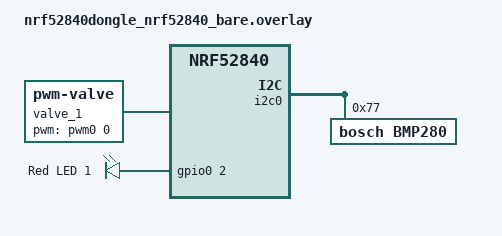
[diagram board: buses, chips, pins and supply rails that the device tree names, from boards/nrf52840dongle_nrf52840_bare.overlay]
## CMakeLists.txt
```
# SPDX-License-Identifier: Apache-2.0

cmake_minimum_required(VERSION 3.20.0)
find_package(Zephyr REQUIRED HINTS $ENV{ZEPHYR_BASE})
project(peripheral)

add_subdirectory(src/drivers)
target_sources(app PRIVATE
  src/main.cpp
  src/bmp280.cpp
)
target_link_libraries(app PRIVATE drivers)
```

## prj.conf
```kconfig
# Increased stack due to settings API usage
CONFIG_SYSTEM_WORKQUEUE_STACK_SIZE=2048

CONFIG_BT=y
CONFIG_LOG=y
CONFIG_BT_LOG_LEVEL_INF=y
CONFIG_BT_SMP=y
CONFIG_BT_PERIPHERAL=y
CONFIG_BT_DIS=y
CONFIG_BT_ATT_PREPARE_COUNT=5
CONFIG_BT_PRIVACY=y
CONFIG_BT_DEVICE_NAME="Sprinkler"
CONFIG_BT_DEVICE_APPEARANCE=833
CONFIG_BT_DEVICE_NAME_DYNAMIC=y
CONFIG_BT_DEVICE_NAME_MAX=65

CONFIG_BT_KEYS_OVERWRITE_OLDEST=y
CONFIG_BT_SETTINGS=y
CONFIG_FLASH=y
CONFIG_FLASH_MAP=y
CONFIG_SETTINGS_NVS=y
CONFIG_NVS=y
CONFIG_SETTINGS=y

CONFIG_CPP=y
CONFIG_PWM=y
CONFIG_MAIN_STACK_SIZE=2048

CONFIG_I2C=y
```

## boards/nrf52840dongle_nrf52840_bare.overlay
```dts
&{/chosen}{
  zephyr,console = &uart0;        
  zephyr,shell-uart = &uart0;     
	zephyr,uart-mcumgr = &uart0;    
	zephyr,bt-mon-uart = &uart0;    
	zephyr,bt-c2h-uart = &uart0;
};


&uart0_default{
		group1 {
			psels = <NRF_PSEL(UART_TX, 0, 4)>;
		};
    group2 {
			psels = <NRF_PSEL(UART_RX, 0, 5)>;
			bias-pull-up;
		};
	};

&uart0_sleep {
		group1 {
			psels = <NRF_PSEL(UART_RX, 0, 8)>,
				<NRF_PSEL(UART_RTS, 0, 5)>,
				<NRF_PSEL(UART_CTS, 0, 7)>;
			low-power-enable;
		};

		group2 {
			psels = <NRF_PSEL(UART_TX, 0, 6)>;
			low-power-enable;
			bias-pull-up;
		};
	};

&pwm0_default {
		group1 {
			psels = <NRF_PSEL(PWM_OUT0, 0, 11)>,
				<NRF_PSEL(PWM_OUT1, 0,13)>,
				<NRF_PSEL(PWM_OUT2, 0, 14)>;
			nordic,invert;
		};
};

&pwm0_sleep {
		group1 {
			psels = <NRF_PSEL(PWM_OUT0, 0, 11)>,
				<NRF_PSEL(PWM_OUT1, 0, 13)>,
				<NRF_PSEL(PWM_OUT2, 0, 14)>;
			low-power-enable;
	};
};

&led1_red {
			gpios = <&gpio0 2 GPIO_ACTIVE_HIGH>;
			label = "Red LED 1";
		};

&i2c0_default{
	group1 {
			psels = <NRF_PSEL(TWIM_SDA, 0, 23)>,
				<NRF_PSEL(TWIM_SCL, 0, 24)>;
	};
};	

&i2c0 {
	bmp280:bmp280@76{
		status = "okay";
		compatible = "bosch,bmp280";
		reg =<0x77>;
		osrs-press = <1>;
		osrs-temp = <1>;
	};
};

/{
	valve_1:valve{		
		compatible = "pwm-valve";
		pwms=<&pwm0 0 PWM_MSEC(20) PWM_POLARITY_NORMAL>;
		min-pulse = <PWM_USEC(1000)>;
		max-pulse = <PWM_USEC(2000)>;
	};
};
```

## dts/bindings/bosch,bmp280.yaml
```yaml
description: |
  Bosch BMP280 pressure and temperature sensor accessed through I2C bus

compatible: "bosch,bmp180"

include: [i2c-device.yaml, sensor-device, yaml]

properties:
  osrs-press:
    type: int
    required: true
    description: |
      Default pressure oversampling rate. Only the following values are
      allow:
      0 skipped
      1 ultra low power,  1 sample
      2 low power,        2 samples
      3 standard,         4 samples
      4 high,             8 samples
      5 ultra high,       16 samples

    enum:
      - 0
      - 1
      - 2
      - 3
      - 4
      - 5

  osrs-temp:
  type: int
  required: true
  description: |
    Default pressure oversampling rate. Only the following values are
    allow:
    0 skipped
    1 ultra low power,  1 sample     16 bits
    2 low power,        2 samples    17 bits 
    3 standard,         4 samples    18 bits
    4 high,             8 samples    19 bits
    5 ultra high,       16 samples   20 bits
```

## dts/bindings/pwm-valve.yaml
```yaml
description: "PWM-driven valve"
compatible: "pwm-valve"
include: "base.yaml"
properties:
  pwms:
    required: true
    type: phandle-array
    description: PWM specifier driving the valves.

  min-pulse:
    required: true
    type: int
    description: Minimum pulse width (nanoseconds).

  max-pulse:
    required: true
    type: int
    description: Maximum pulse width (nanoseconds).
```

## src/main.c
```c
/* main.c - Application main entry point */

/*
 * Copyright (c) 2015-2016 Intel Corporation
 *
 * SPDX-License-Identifier: Apache-2.0
 */

#include <zephyr/types.h>
#include <stddef.h>
#include <string.h>
#include <errno.h>
#include <zephyr/sys/printk.h>
#include <zephyr/sys/byteorder.h>
#include <zephyr/kernel.h>

#include <zephyr/settings/settings.h>

#include <zephyr/bluetooth/bluetooth.h>
#include <zephyr/bluetooth/hci.h>
#include <zephyr/bluetooth/conn.h>
#include <zephyr/bluetooth/uuid.h>
#include <zephyr/bluetooth/gatt.h>
#include <zephyr/bluetooth/services/bas.h>
#include <zephyr/bluetooth/services/cts.h>
#include <zephyr/bluetooth/services/hrs.h>
#include <zephyr/bluetooth/services/ias.h>
#include <zephyr/drivers/pwm.h>

void DrivePwm(uint8_t index, uint8_t value);

/* Custom Service Variables */
#define BT_UUID_CUSTOM_SERVICE_VAL \
	BT_UUID_128_ENCODE(0x12345678, 0x1234, 0x5678, 0x1234, 0x56789abcdef0)

static const struct bt_uuid_128 vnd_uuid = BT_UUID_INIT_128(
		BT_UUID_CUSTOM_SERVICE_VAL);

static const struct bt_uuid_128 vnd_enc_uuid = BT_UUID_INIT_128(
		BT_UUID_128_ENCODE(0x12345678, 0x1234, 0x5678, 0x1234, 0x56789abcdef1));

static const struct bt_uuid_128 vnd_auth_uuid = BT_UUID_INIT_128(
		BT_UUID_128_ENCODE(0x12345678, 0x1234, 0x5678, 0x1234, 0x56789abcdef2));

#define VND_MAX_LEN 20

static uint8_t vnd_value[VND_MAX_LEN + 1] = {'V', 'e', 'n', 'd', 'o', 'r'};
static uint8_t vnd_auth_value[VND_MAX_LEN + 1] = {'V', 'e', 'n', 'd', 'o', 'r'};
static uint8_t vnd_wwr_value[VND_MAX_LEN + 1] = {'V', 'e', 'n', 'd', 'o', 'r'};

static ssize_t read_vnd(struct bt_conn *conn, const struct bt_gatt_attr *attr,
												void *buf, uint16_t len, uint16_t offset)
{
	const char *value = attr->user_data;

	return bt_gatt_attr_read(conn, attr, buf, len, offset, value,
													 strlen(value));
}

static ssize_t write_vnd(struct bt_conn *conn, const struct bt_gatt_attr *attr,
												 const void *buf, uint16_t len, uint16_t offset,
												 uint8_t flags)
{
	uint8_t *value = attr->user_data;

	if (offset + len > VND_MAX_LEN)
	{
		return BT_GATT_ERR(BT_ATT_ERR_INVALID_OFFSET);
	}

	memcpy(value + offset, buf, len);
	value[offset + len] = 0;
	return len;
}

static uint8_t simulate_vnd;
static uint8_t indicating;
static struct bt_gatt_indicate_params ind_params;

static void vnd_ccc_cfg_changed(const struct bt_gatt_attr *attr, uint16_t value)
{
	simulate_vnd = (value == BT_GATT_CCC_INDICATE) ? 1 : 0;
}

static void indicate_cb(struct bt_conn *conn,
												struct bt_gatt_indicate_params *params, uint8_t err)
{
	printk("Indication %s\n", err != 0U ? "fail" : "success");
}

static void indicate_destroy(struct bt_gatt_indicate_params *params)
{
	printk("Indication complete\n");
	indicating = 0U;
}

#define VND_LONG_MAX_LEN 74
static uint8_t vnd_long_value[VND_LONG_MAX_LEN + 1] = {
		'V', 'e', 'n', 'd', 'o', 'r', ' ', 'd', 'a', 't', 'a', '1',
		'V', 'e', 'n', 'd', 'o', 'r', ' ', 'd', 'a', 't', 'a', '2',
		'V', 'e', 'n', 'd', 'o', 'r', ' ', 'd', 'a', 't', 'a', '3',
		'V', 'e', 'n', 'd', 'o', 'r', ' ', 'd', 'a', 't', 'a', '4',
		'V', 'e', 'n', 'd', 'o', 'r', ' ', 'd', 'a', 't', 'a', '5',
		'V', 'e', 'n', 'd', 'o', 'r', ' ', 'd', 'a', 't', 'a', '6',
		'.', ' '};

static ssize_t write_long_vnd(struct bt_conn *conn,
															const struct bt_gatt_attr *attr, const void *buf,
															uint16_t len, uint16_t offset, uint8_t flags)
{
	uint8_t *value = attr->user_data;

	if (flags & BT_GATT_WRITE_FLAG_PREPARE)
	{
		return 0;
	}

	if (offset + len > VND_LONG_MAX_LEN)
	{
		return BT_GATT_ERR(BT_ATT_ERR_INVALID_OFFSET);
	}

	memcpy(value + offset, buf, len);
	value[offset + len] = 0;

	return len;
}

static const struct bt_uuid_128 vnd_long_uuid = BT_UUID_INIT_128(
		BT_UUID_128_ENCODE(0x12345678, 0x1234, 0x5678, 0x1234, 0x56789abcdef3));

static struct bt_gatt_cep vnd_long_cep = {
		.properties = BT_GATT_CEP_RELIABLE_WRITE,
};

static const struct bt_uuid_128 vnd_write_cmd_uuid = BT_UUID_INIT_128(
		BT_UUID_128_ENCODE(0x12345678, 0x1234, 0x5678, 0x1234, 0x56789abcdef4));

static ssize_t write_without_rsp_vnd(struct bt_conn *conn,
																		 const struct bt_gatt_attr *attr,
																		 const void *buf, uint16_t len, uint16_t offset,
																		 uint8_t flags)
{
	uint8_t *value = attr->user_data;

	if (!(flags & BT_GATT_WRITE_FLAG_CMD))
	{
		/* Write Request received. Reject it since this Characteristic
		 * only accepts Write Without Response.
		 */
		return BT_GATT_ERR(BT_ATT_ERR_WRITE_REQ_REJECTED);
	}

	if (offset + len > VND_MAX_LEN)
	{
		return BT_GATT_ERR(BT_ATT_ERR_INVALID_OFFSET);
	}

	DrivePwm(offset, ((uint8_t *)buf)[0]);
	return len;
}

/* Vendor Primary Service Declaration */
BT_GATT_SERVICE_DEFINE(vnd_svc,
											 BT_GATT_PRIMARY_SERVICE(&vnd_uuid),
											 BT_GATT_CHARACTERISTIC(&vnd_enc_uuid.uuid,
																							BT_GATT_CHRC_READ | BT_GATT_CHRC_WRITE |
																									BT_GATT_CHRC_INDICATE,
																							BT_GATT_PERM_READ_ENCRYPT |
																									BT_GATT_PERM_WRITE_ENCRYPT,
																							read_vnd, write_vnd, vnd_value),
											 BT_GATT_CCC(vnd_ccc_cfg_changed,
																	 BT_GATT_PERM_READ | BT_GATT_PERM_WRITE_ENCRYPT),
											 BT_GATT_CHARACTERISTIC(&vnd_auth_uuid.uuid,
																							BT_GATT_CHRC_READ | BT_GATT_CHRC_WRITE,
																							BT_GATT_PERM_READ_AUTHEN |
																									BT_GATT_PERM_WRITE_AUTHEN,
																							read_vnd, write_vnd, vnd_auth_value),
											 BT_GATT_CHARACTERISTIC(&vnd_long_uuid.uuid, BT_GATT_CHRC_READ | BT_GATT_CHRC_WRITE | BT_GATT_CHRC_EXT_PROP,
																							BT_GATT_PERM_READ | BT_GATT_PERM_WRITE |
																									BT_GATT_PERM_PREPARE_WRITE,
																							read_vnd, write_long_vnd, &vnd_long_value),
											 BT_GATT_CEP(&vnd_long_cep),
											 BT_GATT_CHARACTERISTIC(&vnd_write_cmd_uuid.uuid,
																							BT_GATT_CHRC_WRITE_WITHOUT_RESP,
																							BT_GATT_PERM_WRITE, NULL,
																							write_without_rsp_vnd, &vnd_wwr_value), );

static const struct bt_data ad[] = {
		BT_DATA_BYTES(BT_DATA_FLAGS, (BT_LE_AD_GENERAL | BT_LE_AD_NO_BREDR)),
		BT_DATA_BYTES(BT_DATA_UUID16_ALL),
		BT_DATA_BYTES(BT_DATA_UUID128_ALL, BT_UUID_CUSTOM_SERVICE_VAL),
};

static const struct bt_data sd[] = {
		BT_DATA(BT_DATA_NAME_COMPLETE, CONFIG_BT_DEVICE_NAME, sizeof(CONFIG_BT_DEVICE_NAME) - 1),
};

void mtu_updated(struct bt_conn *conn, uint16_t tx, uint16_t rx)
{
	printk("Updated MTU: TX: %d RX: %d bytes\n", tx, rx);
}

static struct bt_gatt_cb gatt_callbacks = {
		.att_mtu_updated = mtu_updated};

static void connected(struct bt_conn *conn, uint8_t err)
{
	if (err)
	{
		printk("Connection failed, err 0x%02x %s\n", err, bt_hci_err_to_str(err));
	}
	else
	{
		printk("Connected\n");
	}
}

static void disconnected(struct bt_conn *conn, uint8_t reason)
{
	printk("Disconnected, reason 0x%02x %s\n", reason, bt_hci_err_to_str(reason));
}

BT_CONN_CB_DEFINE(conn_callbacks) = {
		.connected = connected,
		.disconnected = disconnected,
};

static void bt_ready(void)
{
	int err;

	printk("Bluetooth initialized\n");

	if (IS_ENABLED(CONFIG_SETTINGS))
	{
		settings_load();
	}

	err = bt_le_adv_start(BT_LE_ADV_CONN_FAST_1, ad, ARRAY_SIZE(ad), sd, ARRAY_SIZE(sd));
	if (err)
	{
		printk("Advertising failed to start (err %d)\n", err);
		return;
	}

	printk("Advertising successfully started\n");
}

static void auth_passkey_display(struct bt_conn *conn, unsigned int passkey)
{
	char addr[BT_ADDR_LE_STR_LEN];

	bt_addr_le_to_str(bt_conn_get_dst(conn), addr, sizeof(addr));

	printk("Passkey for %s: %06u\n", addr, passkey);
}

static void auth_cancel(struct bt_conn *conn)
{
	char addr[BT_ADDR_LE_STR_LEN];

	bt_addr_le_to_str(bt_conn_get_dst(conn), addr, sizeof(addr));

	printk("Pairing cancelled: %s\n", addr);
}

static struct bt_conn_auth_cb auth_cb_display = {
		.passkey_display = auth_passkey_display,
		.passkey_entry = NULL,
		.cancel = auth_cancel,
};

int main(void)
{
	struct bt_gatt_attr *vnd_ind_attr;
	char str[BT_UUID_STR_LEN];
	int err;

	err = bt_enable(NULL);
	if (err)
	{
		printk("Bluetooth init failed (err %d)\n", err);
		return 0;
	}

	bt_ready();
	bt_gatt_cb_register(&gatt_callbacks);
	bt_conn_auth_cb_register(&auth_cb_display);

	vnd_ind_attr = bt_gatt_find_by_uuid(vnd_svc.attrs, vnd_svc.attr_count,
																			&vnd_enc_uuid.uuid);
	bt_uuid_to_str(&vnd_enc_uuid.uuid, str, sizeof(str));
	printk("Indicate VND attr %p (UUID %s)\n", vnd_ind_attr, str);

	/* Implement notification. At the moment there is no suitable way
	 * of starting delayed work so we do it here
	 */
	while (1)
	{
		k_sleep(K_SECONDS(1));

		/* Vendor indication simulation */
		if (simulate_vnd && vnd_ind_attr)
		{
			if (indicating)
			{
				continue;
			}

			ind_params.attr = vnd_ind_attr;
			ind_params.func = indicate_cb;
			ind_params.destroy = indicate_destroy;
			ind_params.data = &indicating;
			ind_params.len = sizeof(indicating);

			if (bt_gatt_indicate(NULL, &ind_params) == 0)
			{
				indicating = 1U;
			}
		}
	}
	return 0;
}
```

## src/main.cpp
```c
/* main.c - Application main entry point */

/*
 * Copyright (c) 2015-2016 Intel Corporation
 *
 * SPDX-License-Identifier: Apache-2.0
 */

#include <zephyr/types.h>
#include <stddef.h>
#include <string.h>
#include <errno.h>
#include <zephyr/sys/printk.h>
#include <zephyr/sys/byteorder.h>
#include <zephyr/kernel.h>
#include "bmp280.h"
#include "bluetooth.h"


int main(int argc, char *argv[])
{

	uint8_t code;
	bmp280 *pressure = new bmp280();

	//if(initBluetooth() < 0)
		//return -1;
	
	while (1)
	{
		k_sleep(K_SECONDS(1));
		pressure->ReadDeviceCode(&code);
		printk("BMP280 Device Code: %x\n", code);
	}
	return 0;
}
```
